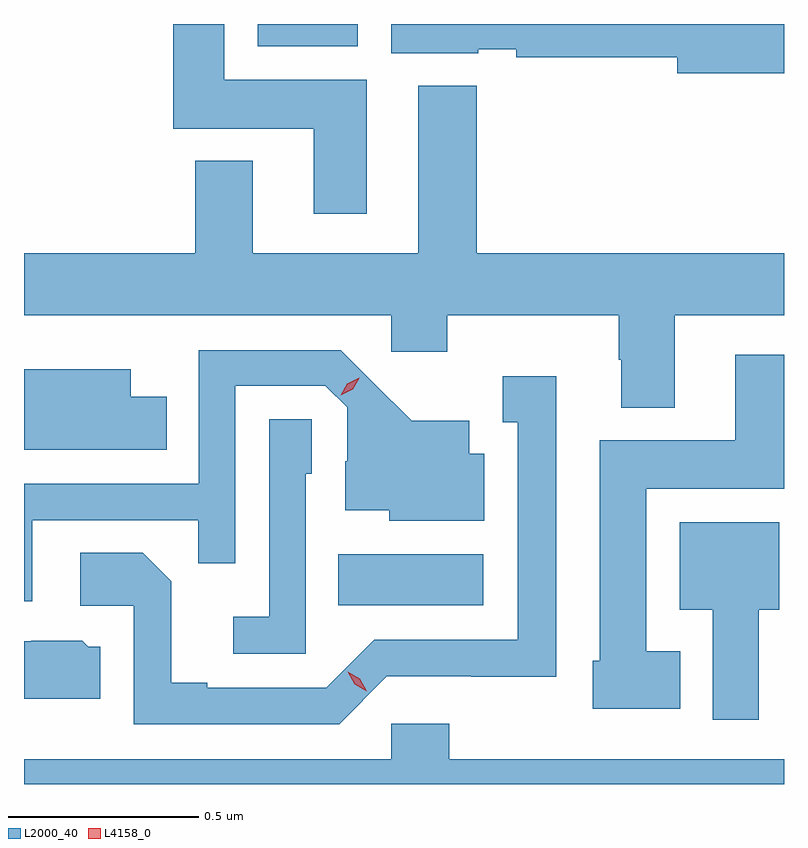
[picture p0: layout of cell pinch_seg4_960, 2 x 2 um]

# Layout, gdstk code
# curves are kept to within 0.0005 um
import gdstk
lib = gdstk.Library(unit=1e-6, precision=1e-09)
def R(c, l, rs):  # rectangles x0, y0, x1, y1
    for r in rs: c.add(gdstk.rectangle(r[:2], r[2:], *l))
def P(c, l, *ps):  # polygons
    for p in ps: c.add(gdstk.Polygon(p, *l))
L2000_40 = (2000, 40)
L4158_0 = (4158, 0)

pinch_seg4_960 = lib.new_cell('pinch_seg4_960')
R(pinch_seg4_960, L2000_40, [(654.85,798.722,655.231,798.856), (654.638,800.192,654.901,800.251)])
P(pinch_seg4_960, L2000_40, [(654.925,800.104),(654.55,800.104),(654.55,800.251),(654.416,800.251),(654.416,799.976),(654.785,799.976),(654.785,799.752),(654.925,799.752)],
  [(656.023,800.251),(654.989,800.251),(654.989,800.174),(655.218,800.174),(655.218,800.184),(655.318,800.184),(655.318,800.164),(655.742,800.164),(655.742,800.122),(656.023,800.122)],
  [(655.735,799.484),(656.023,799.484),(656.023,799.648),(655.214,799.648),(655.214,800.089),(655.061,800.089),(655.061,799.648),(654.625,799.648),(654.625,799.891),(654.473,799.891),(654.473,799.648),(654.023,799.648),(654.023,799.484),(654.99,799.484),(654.99,799.389),(655.137,799.389),(655.137,799.484),(655.588,799.484),(655.588,799.368),(655.595,799.368),(655.595,799.241),(655.735,799.241)],
  [(654.045,798.945),(654.481,798.945),(654.481,798.832),(654.579,798.832),(654.579,799.299),(654.816,799.299),(654.873,799.242),(654.873,799.1),(654.869,799.1),(654.869,798.971),(654.984,798.971),(654.984,798.944),(655.234,798.944),(655.234,799.12),(655.195,799.12),(655.195,799.207),(655.043,799.207),(654.856,799.392),(654.483,799.392),(654.483,799.041),(654.023,799.041),(654.023,798.732),(654.045,798.732)],
  [(655.75,798.601),(655.66,798.601),(655.66,799.028),(656.023,799.028),(656.023,799.381),(655.895,799.381),(655.895,799.156),(655.538,799.156),(655.538,798.576),(655.52,798.576),(655.52,798.449),(655.75,798.449)],
  [(654.398,799.27),(654.304,799.27),(654.304,799.342),(654.023,799.342),(654.023,799.13),(654.398,799.13)],
  [(654.978,798.534),(655.2,798.534),(655.2,798.533),(655.423,798.533),(655.423,799.324),(655.283,799.324),(655.283,799.203),(655.322,799.203),(655.322,798.63),(654.945,798.63),(654.819,798.504),(654.505,798.504),(654.505,798.517),(654.411,798.517),(654.411,798.784),(654.335,798.86),(654.171,798.86),(654.171,798.72),(654.312,798.72),(654.312,798.408),(654.852,798.408)],
  [(654.765,799.068),(654.78,799.068),(654.78,799.211),(654.669,799.211),(654.669,798.691),(654.573,798.691),(654.573,798.594),(654.765,798.594)],
  [(655.957,798.71),(656.011,798.71),(656.011,798.94),(655.748,798.94),(655.748,798.71),(655.835,798.71),(655.835,798.42),(655.957,798.42)],
  [(654.223,798.612),(654.192,798.612),(654.176,798.628),(654.042,798.628),(654.042,798.627),(654.023,798.627),(654.023,798.476),(654.223,798.476)],
  [(656.023,798.316),(655.142,798.316),(655.142,798.409),(654.99,798.409),(654.99,798.316),(654.023,798.316),(654.023,798.251),(656.023,798.251)])
P(pinch_seg4_960, L4158_0, [(654.925,798.495),(654.893,798.514),(654.875,798.546),(654.875,798.547),(654.875,798.547),(654.907,798.528),(654.925,798.495),(654.925,798.495)],
  [(654.857,799.274),(654.857,799.274),(654.874,799.304),(654.905,799.32),(654.905,799.32),(654.905,799.319),(654.888,799.29),(654.857,799.274)])

lib.write_gds('pinch_seg4_960.gds')
